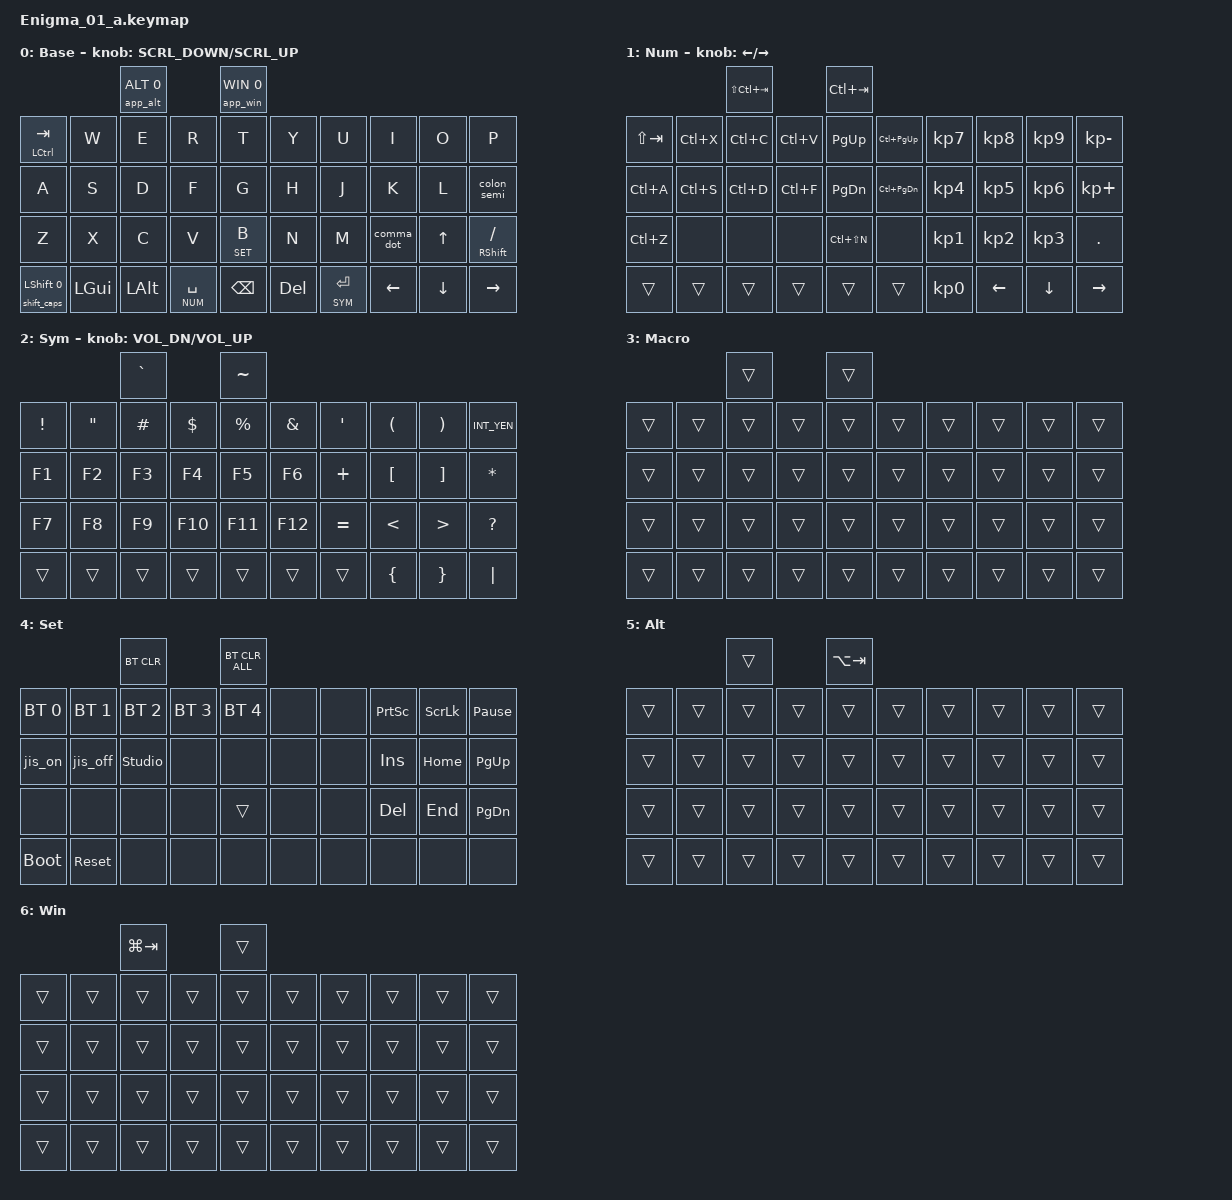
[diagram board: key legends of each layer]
/*
 * Enigma_01 配布用キーマップ（1.0u 配列 = layout_a、42キー）
 * 共通のビヘイビアは Enigma_01_common.dtsi。ここはレイヤーの並びと同時押しの位置だけ
 *
 * 位置の番号: 上の2キー 0-1 ／ 1段目 2-11 ／ 2段目 12-21 ／ 3段目 22-31 ／ 最下段 32-41
 * 最下段: 32 Shift  33 Win  34 Alt  35 Space  36 BS  37 Delete  38 Enter  39 ←  40 ↓  41 →
 */

#include "Enigma_01_common.dtsi"
#include "Enigma_01_variant.dtsi"

#define POS_SPACE 35
#define POS_BS    36
#define POS_ENTER 38

/ {
    COMBOS_BEGIN

        COMBO(esc, &kp ESC, 0 2, BASE)
        COMBO(q, &kp Q, 2 3, BASE)
        COMBO(minus, &kp MINUS, 9 10, BASE)
        COMBO(caret, &kp CARET, 10 11, BASE)
        COMBO(del, &kp DEL, 19 20, BASE NUM)
        COMBO(at, &kp AT_SIGN, 20 21, BASE)
        COMBO(under, &kp UNDERSCORE, 30 31, BASE)
        COMBO(ime_off, &kp INT_MUHENKAN, 12 POS_SPACE, BASE)
        COMBO(ime_on, &kp INT_HENKAN, 21 POS_ENTER, BASE)
        COMBO(macro, &mo MACRO, POS_BS POS_ENTER, BASE)

        COMBO(num_slash, &kp KP_SLASH, 8 9, NUM)
        COMBO(num_star, &kp KP_ASTERISK, 9 10, NUM)
        COMBO(num_equal, &kp EQUAL, 10 11, NUM)
        COMBO(num_enter, &kp KP_ENTER, POS_ENTER 31, NUM)
    COMBOS_END

    keymap {
        compatible = "zmk,keymap";

        base {
            display-name = "Base";
            bindings = <
                         &app_alt ALT 0  &app_win WIN 0
&mt LCTRL TAB  &kp W  &kp E  &kp R  &kp T     &kp Y  &kp U  &kp I       &kp O   &kp P
&kp A          &kp S  &kp D  &kp F  &kp G     &kp H  &kp J  &kp K       &kp L   &colon_semi
&kp Z          &kp X  &kp C  &kp V  &lt SET B &kp N  &kp M  &comma_dot  &kp UP  &mt RSHFT SLASH
&shift_caps LSHFT 0  &kp LGUI  &kp LALT  &lt_kp NUM SPACE  &kp BSPC  &kp DEL  &lt_kp SYM ENTER  &kp LEFT  &kp DOWN  &kp RIGHT
            >;
            sensor-bindings = <&enc_scroll SCRL_DOWN SCRL_UP>;
        };

        num {
            display-name = "Num";
            bindings = <
                         &kp LS(LC(TAB))  &kp LC(TAB)
&kp LS(TAB)  &kp LC(X)  &kp LC(C)  &kp LC(V)  &kp PG_UP      &kp LC(PG_UP)  &kp KP_N7  &kp KP_N8  &kp KP_N9  &kp KP_MINUS
&kp LC(A)    &kp LC(S)  &kp LC(D)  &kp LC(F)  &kp PG_DN      &kp LC(PG_DN)  &kp KP_N4  &kp KP_N5  &kp KP_N6  &kp KP_PLUS
&kp LC(Z)    &none      &none      &none      &kp LC(LS(N))  &none          &kp KP_N1  &kp KP_N2  &kp KP_N3  &kp DOT
&trans  &trans  &trans  &trans  &trans  &trans  &kp KP_N0  &kp LEFT  &kp DOWN  &kp RIGHT
            >;
            sensor-bindings = <&enc_kp LEFT RIGHT>;
        };

        sym {
            display-name = "Sym";
            bindings = <
                         &kp GRAVE  &kp TILDE
&kp EXCL  &kp DQT  &kp HASH  &kp DLLR  &kp PRCNT  &kp AMPS  &kp SQT    &kp LPAR  &kp RPAR  &kp INT_YEN
&kp F1    &kp F2   &kp F3    &kp F4    &kp F5     &kp F6    &kp PLUS   &kp LBKT  &kp RBKT  &kp ASTRK
&kp F7    &kp F8   &kp F9    &kp F10   &kp F11    &kp F12   &kp EQUAL  &kp LT    &kp GT    &kp QMARK
&trans  &trans  &trans  &trans  &trans  &trans  &trans  &kp LBRC  &kp RBRC  &kp PIPE
            >;
            sensor-bindings = <&enc_kp C_VOL_DN C_VOL_UP>;
        };

        // 空のレイヤー（ZMK Studio・DYA Studio で自由に割り当てる用。Studio ではレイヤーを足せないため残しておく）
        macro {
            display-name = "Macro";
            bindings = <
                         &trans  &trans
&trans  &trans  &trans  &trans  &trans  &trans  &trans  &trans  &trans  &trans
&trans  &trans  &trans  &trans  &trans  &trans  &trans  &trans  &trans  &trans
&trans  &trans  &trans  &trans  &trans  &trans  &trans  &trans  &trans  &trans
&trans  &trans  &trans  &trans  &trans  &trans  &trans  &trans  &trans  &trans
            >;
        };

        set {
            display-name = "Set";
            bindings = <
                         &bt BT_CLR  &bt BT_CLR_ALL
&bt BT_SEL 0  &bt BT_SEL 1  &bt BT_SEL 2    &bt BT_SEL 3  &bt BT_SEL 4  &none  &none  &kp PSCRN  &kp SLCK  &kp PAUSE_BREAK
&jis_on       &jis_off      &studio_unlock  &none         &none         &none  &none  &kp INS    &kp HOME  &kp PG_UP
&none         &none         &none           &none         &trans        &none  &none  &kp DEL    &kp END   &kp PG_DN
&bootloader  &sys_reset  &none  &none  &none  &none  &none  &none  &none  &none
            >;
        };

        // 左上を押している間。右上で Alt+Tab
        alt {
            display-name = "Alt";
            bindings = <
                         &trans  &kp LA(TAB)
&trans  &trans  &trans  &trans  &trans  &trans  &trans  &trans  &trans  &trans
&trans  &trans  &trans  &trans  &trans  &trans  &trans  &trans  &trans  &trans
&trans  &trans  &trans  &trans  &trans  &trans  &trans  &trans  &trans  &trans
&trans  &trans  &trans  &trans  &trans  &trans  &trans  &trans  &trans  &trans
            >;
        };

        // 右上を押している間。左上で Win+Tab
        win {
            display-name = "Win";
            bindings = <
                         &kp LG(TAB)  &trans
&trans  &trans  &trans  &trans  &trans  &trans  &trans  &trans  &trans  &trans
&trans  &trans  &trans  &trans  &trans  &trans  &trans  &trans  &trans  &trans
&trans  &trans  &trans  &trans  &trans  &trans  &trans  &trans  &trans  &trans
&trans  &trans  &trans  &trans  &trans  &trans  &trans  &trans  &trans  &trans
            >;
        };
    };
};
